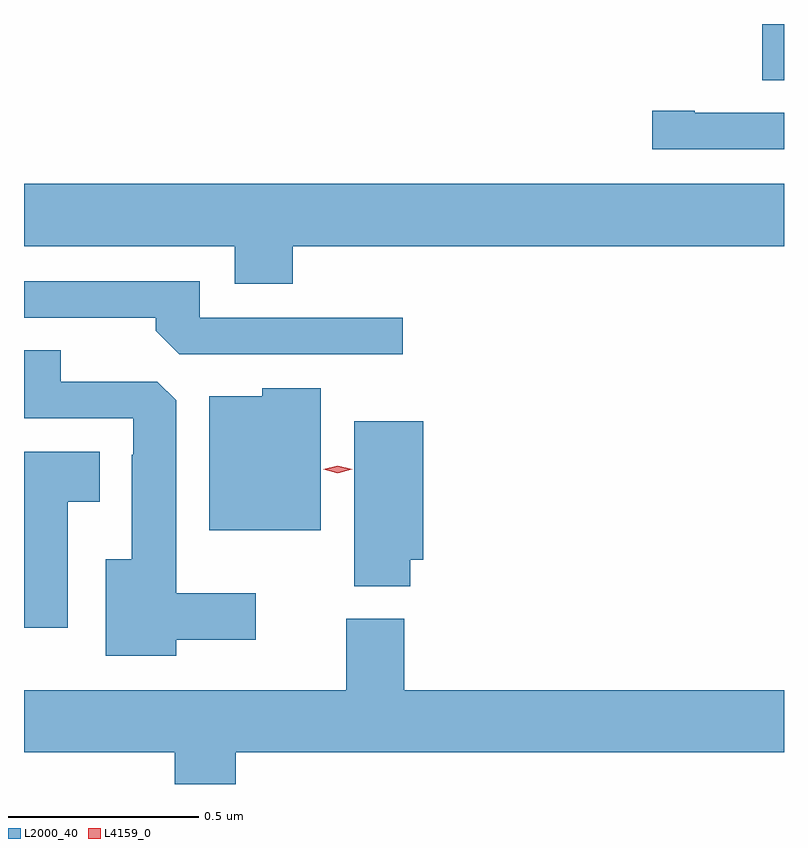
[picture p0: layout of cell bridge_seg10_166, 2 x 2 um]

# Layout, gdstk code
import gdstk
lib = gdstk.Library(unit=1e-6, precision=1e-09)
def R(c, l, rs):  # rectangles x0, y0, x1, y1
    for r in rs: c.add(gdstk.rectangle(r[:2], r[2:], *l))
def P(c, l, *ps):  # polygons
    for p in ps: c.add(gdstk.Polygon(p, *l))
L2000_40 = (2000, 40)
L4159_0 = (4159, 0)

bridge_seg10_166 = lib.new_cell('bridge_seg10_166')
R(bridge_seg10_166, L2000_40, [(241.016,1280.773,241.073,1280.921)])
P(bridge_seg10_166, L2000_40, [(241.073,1280.688),(240.838,1280.688),(240.838,1280.693),(240.726,1280.693),(240.726,1280.592),(241.073,1280.592)],
  [(239.78,1280.336),(241.073,1280.336),(241.073,1280.5),(239.073,1280.5),(239.073,1280.336),(239.627,1280.336),(239.627,1280.237),(239.78,1280.237)],
  [(240.07,1280.148),(239.535,1280.148),(239.535,1280.244),(239.073,1280.244),(239.073,1280.148),(239.42,1280.148),(239.42,1280.114),(239.481,1280.052),(240.07,1280.052)],
  [(239.473,1279.301),(239.683,1279.301),(239.683,1279.423),(239.473,1279.423),(239.473,1279.931),(239.424,1279.98),(239.17,1279.98),(239.17,1280.063),(239.073,1280.063),(239.073,1279.884),(239.361,1279.884),(239.361,1279.787),(239.357,1279.787),(239.357,1279.513),(239.288,1279.513),(239.288,1279.259),(239.473,1279.259)],
  [(239.854,1279.963),(239.7,1279.963),(239.7,1279.942),(239.561,1279.942),(239.561,1279.589),(239.854,1279.589)],
  [(240.089,1279.511),(240.124,1279.511),(240.124,1279.876),(239.942,1279.876),(239.942,1279.441),(240.089,1279.441)],
  [(239.188,1279.664),(239.272,1279.664),(239.272,1279.795),(239.073,1279.795),(239.073,1279.332),(239.188,1279.332)],
  [(239.63,1279.004),(241.073,1279.004),(241.073,1279.168),(240.074,1279.168),(240.074,1279.356),(239.921,1279.356),(239.921,1279.168),(239.073,1279.168),(239.073,1279.004),(239.47,1279.004),(239.47,1278.921),(239.63,1278.921)])
P(bridge_seg10_166, L4159_0, [(239.899,1279.739),(239.861,1279.749),(239.861,1279.749),(239.861,1279.749),(239.899,1279.759),(239.937,1279.749),(239.937,1279.749),(239.937,1279.749)])

lib.write_gds('bridge_seg10_166.gds')
